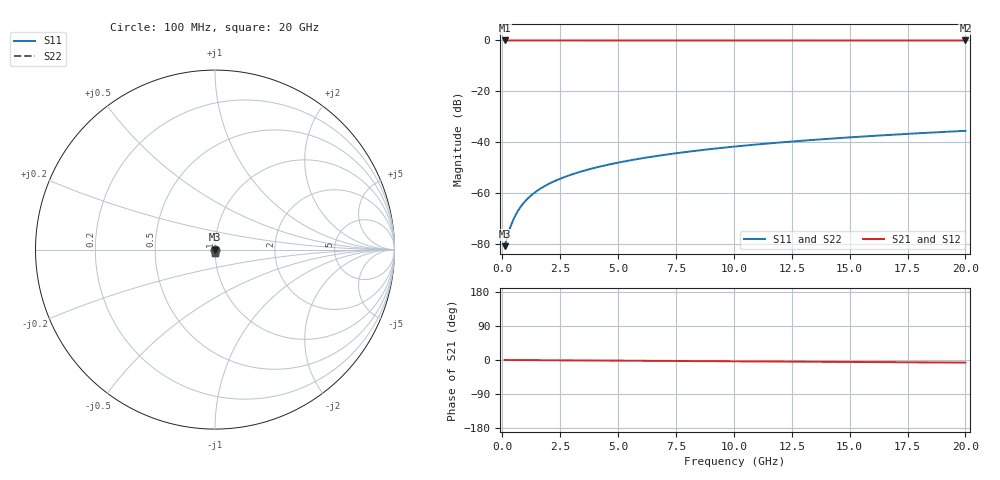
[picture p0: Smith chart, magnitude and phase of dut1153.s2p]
! Touchstone file exported from HFSS 2026.1.0
!  File:  C:/ffzhzh/LocalFiles/Ansys_Project_Files/temp_train_TSV_1153_1783191628_22436.aedt
!  Generated:  03:02:01 AM Jul  5, 2026
!  Design:  TSV
!  Project:  temp_train_TSV_1153_1783191628_22436
! Variables:
!  h_bsmrdl = 2um
!  h_ox = 20um
!  h_rdl = 5um
!  h_sub = 66.73um
!  h_tmrdl = 5um
!  h_tsv = 66.73um
!  h_via = 3um
!  l_bsmrdl = 300um
!  l_sub = 426.32um
!  l_tmrdl = 200um
!  m_sub = 200um
!  pitch = 45.79um
!  r_tsv = 13.16um
!  s_tmrdl = 10um
!  w_bsmrdl = 18um
!  w_sub = 500um
!  w_tmrdl = 12um
!  x_tsv_center1 = 206um
!  x_tsv_center2 = 524um
!  x_tsv_center3 = 736um
!  x_tsv_center4 = 1054um
!  x_tsv_center5 = 1266um
!  x_tsv_center6 = 1584um
# GHz S MA R 50.000000
! Terminal data exported
! Port[1] = TSV1_1_T1
! Port[2] = TSV1_1_T2
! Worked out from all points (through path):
!   200 points, 100 MHz to 20 GHz, reference 50 ohm
!   highest |S21| = 0.00 dB at 100 MHz (marker M1); lowest = 0.0 dB at 20 GHz (marker M2)
!   lowest |S11| = -80.9 dB at 100 MHz (marker M3), VSWR 1.00, Z = 50 - j0.0047 ohm
!   |S11| at or under -10 dB: start of sweep to end of sweep
!   |S22| runs from -80.9 to -35.5 dB; largest |S21 - S12| = 3.2e-15
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0.1  8.995e-05 -31.5  0.9999 -0.0  0.9999 -0.0  8.995e-05 -31.5
! Gamma 0 0 0 0
! Port Impedance 50 0 50 0
0.2  0.0001311 -47.8  0.9999 -0.1  0.9999 -0.1  0.0001311 -47.8
0.3  0.0001847 -55.5  0.9999 -0.1  0.9999 -0.1  0.0001847 -55.5
0.4  0.0002467 -59.8  0.9999 -0.1  0.9999 -0.1  0.0002467 -59.8
0.5  0.0003148 -62.7  0.9999 -0.2  0.9999 -0.2  0.0003148 -62.7
0.6  0.0003872 -65.0  0.9998 -0.2  0.9998 -0.2  0.0003872 -65.0
0.7  0.0004627 -66.9  0.9998 -0.2  0.9998 -0.2  0.0004627 -66.9
0.9  0.000619 -70.0  0.9998 -0.3  0.9998 -0.3  0.000619 -70.0
1.2  0.0008591 -73.5  0.9997 -0.4  0.9997 -0.4  0.0008591 -73.5
1.4  0.00102 -75.2  0.9997 -0.5  0.9997 -0.5  0.00102 -75.2
1.6  0.001181 -76.6  0.9997 -0.6  0.9997 -0.6  0.001181 -76.6
2.1  0.001584 -79.2  0.9997 -0.7  0.9997 -0.7  0.001584 -79.2
2.7  0.002069 -81.2  0.9996 -0.9  0.9996 -0.9  0.002069 -81.2
3.5  0.002719 -82.9  0.9996 -1.2  0.9996 -1.2  0.002719 -82.9
4.2  0.003292 -84.0  0.9996 -1.5  0.9996 -1.5  0.003292 -83.9
5  0.003953 -84.9  0.9995 -1.7  0.9995 -1.7  0.003953 -84.9
6.8  0.005456 -86.5  0.9994 -2.3  0.9994 -2.3  0.005456 -86.5
8.3  0.00672 -87.6  0.9994 -2.9  0.9994 -2.9  0.00672 -87.6
10.1  0.008244 -88.8  0.9993 -3.5  0.9993 -3.5  0.008244 -88.8
13.4  0.01105 -90.6  0.9992 -4.6  0.9992 -4.6  0.01105 -90.6
16.7  0.01387 -92.2  0.999 -5.7  0.999 -5.7  0.01387 -92.2
20  0.0167 -93.6  0.9989 -6.9  0.9989 -6.9  0.0167 -93.6
